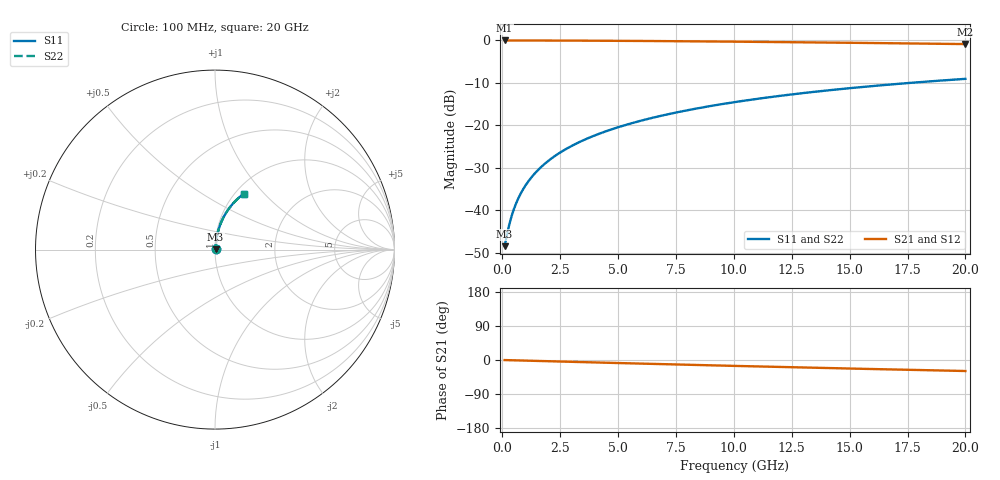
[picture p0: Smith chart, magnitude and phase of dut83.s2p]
! Touchstone file exported from HFSS 2024.1.0
!  File:  C:/UserFiles/LocalFiles/RDL_TSV_Batchsim/temp_RDL_bottom_83_1778694430.aedt
!  Generated:  01:50:02 AM May 14, 2026
!  Design:  RDL_bottom
!  Project:  temp_RDL_bottom_83_1778694430
!  Setup:  Setup1
!  Solution:  Sweep
! Variables:
!  dtsv = 10.80580581um
!  hbump = 3um
!  htsv = 86.4um
!  ldown = 364.31um
!  lrdl = 100um
!  p = 40
!  p1 = 41.13um
!  rhole = 1um
!  t = 450um
!  tdown = 3.88um
!  trdl = 3.915915916um
!  wdown = 10.64um
!  wrdl = 20um
# GHz S MA R 50.000000
! Terminal data exported
! Port[1] = RDL1_T1
! Port[2] = RDL1_T2
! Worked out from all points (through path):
!   200 points, 100 MHz to 20 GHz, reference 50 ohm
!   highest |S21| = -0.03 dB at 100 MHz (marker M1); lowest = -0.9 dB at 20 GHz (marker M2)
!   group delay of S21, straight-line fit = 4.03 ps
!   lowest |S11| = -48.5 dB at 100 MHz (marker M3), VSWR 1.01, Z = 50.3 + j0.198 ohm
!   |S11| at or under -10 dB: start of sweep to 17.67 GHz
!   |S22| runs from -48.5 to -9.1 dB; largest |S21 - S12| = 2.6e-15
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0.1  0.003761 31.5  0.9968 -0.2  0.9968 -0.2  0.003761 31.5
! Gamma 0 0 0 0
! Port Impedance 50 0 50 0
0.2  0.005091 50.2  0.9967 -0.3  0.9967 -0.3  0.005091 50.2
0.3  0.006718 60.3  0.9967 -0.5  0.9967 -0.5  0.006718 60.3
0.4  0.008457 66.3  0.9966 -0.7  0.9966 -0.7  0.008458 66.3
0.5  0.01025 70.2  0.9965 -0.8  0.9965 -0.8  0.01025 70.2
0.6  0.01207 72.9  0.9964 -1.0  0.9964 -1.0  0.01207 72.9
0.8  0.01576 76.3  0.9963 -1.3  0.9963 -1.3  0.01576 76.3
1.1  0.02136 79.1  0.996 -1.8  0.996 -1.8  0.02136 79.1
1.5  0.02887 80.9  0.9955 -2.4  0.9955 -2.4  0.02887 80.9
1.8  0.03452 81.6  0.9951 -2.9  0.9951 -2.9  0.03452 81.6
2.1  0.04017 82.0  0.9946 -3.4  0.9946 -3.4  0.04017 82.0
2.7  0.05148 82.3  0.9935 -4.4  0.9935 -4.4  0.05148 82.3
3.5  0.06654 82.1  0.9917 -5.6  0.9917 -5.6  0.06654 82.1
4.2  0.07968 81.6  0.9897 -6.8  0.9897 -6.8  0.07968 81.6
5  0.09466 80.9  0.9871 -8.0  0.9871 -8.0  0.09466 80.9
5.9  0.1114 80.0  0.9838 -9.4  0.9838 -9.4  0.1114 80.0
6.8  0.1281 79.1  0.9801 -10.8  0.9801 -10.8  0.1281 79.1
8.3  0.1557 77.3  0.9734 -13.0  0.9734 -13.0  0.1557 77.3
10.1  0.1883 75.1  0.9643 -15.7  0.9643 -15.7  0.1883 75.1
13.4  0.2462 70.9  0.9457 -20.3  0.9457 -20.3  0.2462 70.9
16.7  0.3009 66.7  0.9253 -24.8  0.9253 -24.8  0.3009 66.7
20  0.3519 62.5  0.9035 -29.0  0.9035 -29.0  0.3518 62.5
